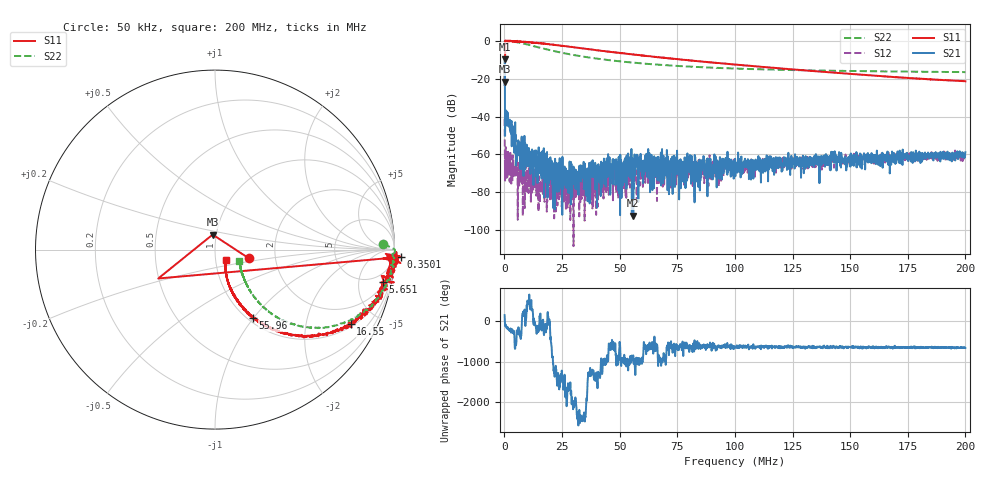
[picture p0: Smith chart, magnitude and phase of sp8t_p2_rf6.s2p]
! 26-Feb-26 11:35:30 AM
! E:\VNA_MEASUREMENTS\SP8T\SP8T_P2_RF6.S2P
! CHANNEL.1
! TR.MEASUREMENT
! CORRECTED.DATA
# GHZ S RI R 50.0
! FREQ.GHZ  S11RE  S11IM  S21RE  S21IM  S12RE  S12IM  S22RE  S22IM
!; PortSelection: Port_12
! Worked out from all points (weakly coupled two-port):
!   2000 points, 50 kHz to 200 MHz, reference 50 ohm
!   highest |S21| = -9.65 dB at 150 kHz (marker M1); lowest = -92.4 dB at 55.86 MHz (marker M2)
!   lowest |S11| = -21.4 dB at 150 kHz (marker M3), VSWR 1.19, Z = 48 + j8.1 ohm
!   |S11| at or under -10 dB: start of sweep to 242 kHz; 78.2705 MHz to 78.42038 MHz (149.9 kHz wide, 0.191 % of centre); 78.9 MHz to end of sweep (the widest 3 of 4)
!   |S22| runs from -16.5 to 0.0 dB; largest |S21 - S12| = 0.33
!   S11 on the Smith chart (normalised r, x): 50 kHz: 1.46, -0.15; 350.1 kHz: -25, -27; 5.651 MHz: 3, -10; 16.55 MHz: 1.11, -3.58; 55.96 MHz: 1.06, -1.00; 200 MHz: 1.13, -0.13
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5e-05  0.1894 -0.0491  -0.0615 0.0315  0.00861 0.00158  0.9381 0.0328
0.000150025  -0.0131 0.0837  0.2866 0.1618  0.000194 0.00118  1.001 0.000995
0.000350075  1.036 -0.0414  0.004 -0.0103  0.000547 0.000712  0.9903 -0.0333
0.0012503  0.9511 -0.0238  -0.00899 -0.00685  -0.000181 -0.000221  0.9965 -0.0916
0.005651401  0.9363 -0.179  -0.000108 0.00166  -6.04e-05 -0.000285  0.8748 -0.3164
0.007751926  0.9102 -0.2407  -0.00101 -0.000141  -9.43e-05 0.000139  0.7826 -0.375
0.01655413  0.7563 -0.4148  -0.000707 -0.000556  5.81e-05 0.000285  0.4754 -0.4273
0.02195548  0.6324 -0.4644  -0.000763 -4.42e-05  -8.92e-05 0.000128  0.369 -0.3882
0.03115778  0.4691 -0.4836  8.56e-05 0.000172  -2.42e-05 0.00011  0.2675 -0.3186
0.03345835  0.4339 -0.476  -0.000475 2.6e-06  -6.59e-05 1.19e-05  0.2522 -0.3027
0.03615903  0.3981 -0.4671  0.000198 0.000139  -0.000124 5.99e-05  0.2366 -0.2865
0.03825956  0.3694 -0.4631  -0.000601 0.000359  -0.000166 6.25e-05  0.2269 -0.2739
0.04076018  0.3432 -0.4486  -0.000547 5.33e-05  -0.000163 5.09e-05  0.2158 -0.2608
0.04456113  0.3034 -0.4322  -7.07e-05 0.00069  -0.000134 0.000168  0.2045 -0.2425
0.04676168  0.2815 -0.4202  -0.000392 3.4e-05  1.26e-05 0.000264  0.1967 -0.233
0.05586396  0.2174 -0.3862  -1.23e-05 -2.05e-05  -1.44e-05 0.000202  0.1791 -0.1997
0.05596398  0.2129 -0.3803  -0.000164 2.78e-05  -1.76e-05 0.000122  0.179 -0.1993
0.06676668  0.1654 -0.3373  0.000252 0.000826  -0.00012 9.25e-05  0.1651 -0.1707
0.100075  0.0879 -0.2241  5.24e-05 0.000764  -3.66e-05 0.000436  0.1459 -0.1178
0.1333833  0.0643 -0.1484  0.000172 0.000508  5.69e-05 0.000615  0.1402 -0.0918
0.1666917  0.0589 -0.0977  0.000113 0.000864  0.000387 0.000773  0.1378 -0.0759
0.2  0.063 -0.0588  0.000479 0.00104  0.000215 0.000954  0.1357 -0.0644
